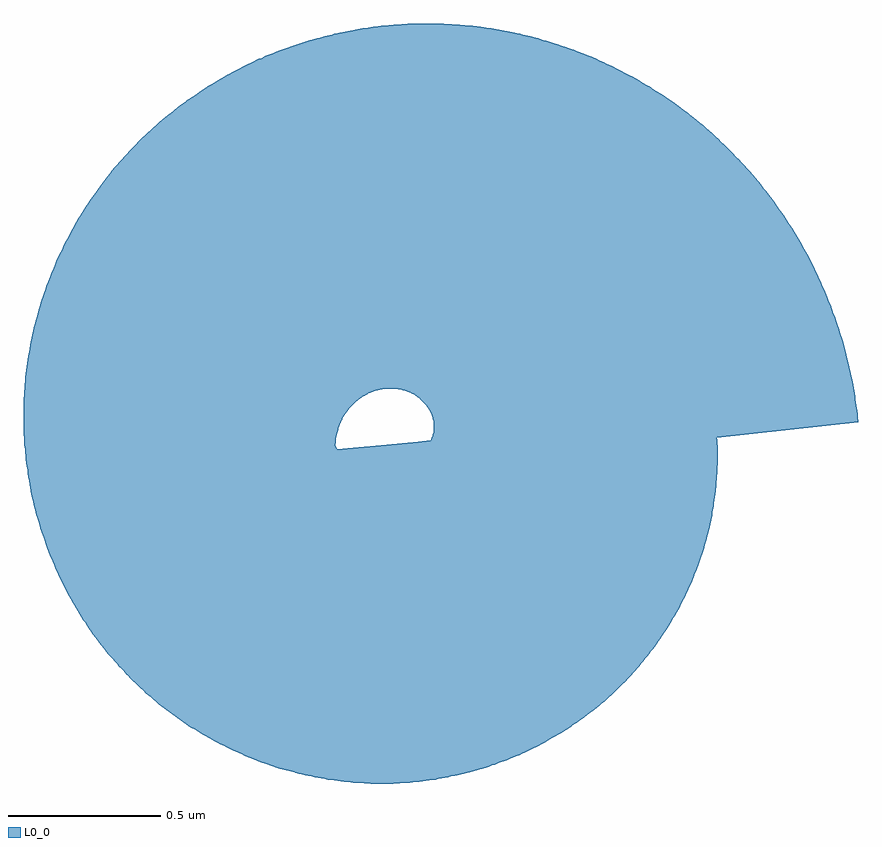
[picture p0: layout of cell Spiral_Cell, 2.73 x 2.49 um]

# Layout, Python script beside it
import numpy as np
import gdspy

# Parameters for the spiral
t_start = 0
t_end = 6 * np.pi
num_points = 1000  # Number of points to define the spiral
line_width = 1

# Generate the parameter t
t = np.linspace(t_start, t_end, num_points)

# Compute r(t)
r = np.exp(-0.1 * t)

# Convert polar coordinates to Cartesian coordinates
x = r * np.cos(t)
y = r * np.sin(t)

# Combine x and y into a list of points
points = np.column_stack((x, y))

# Create a new GDSII library
lib = gdspy.GdsLibrary()

# Create a new cell
cell = lib.new_cell('Spiral_Cell')

# Create a path with the specified line width using the points
spiral_path = gdspy.FlexPath(
    points,
    line_width,
    corners='smooth',
    bend_radius=None,
    max_points=199  # To ensure compatibility with GDSII format limitations
)

# Add the path to the cell
cell.add(spiral_path)

# Write the library to a GDSII file
lib.write_gds('parametric_spiral.gds')

# Optional: View the layout using gdspy (commented out)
